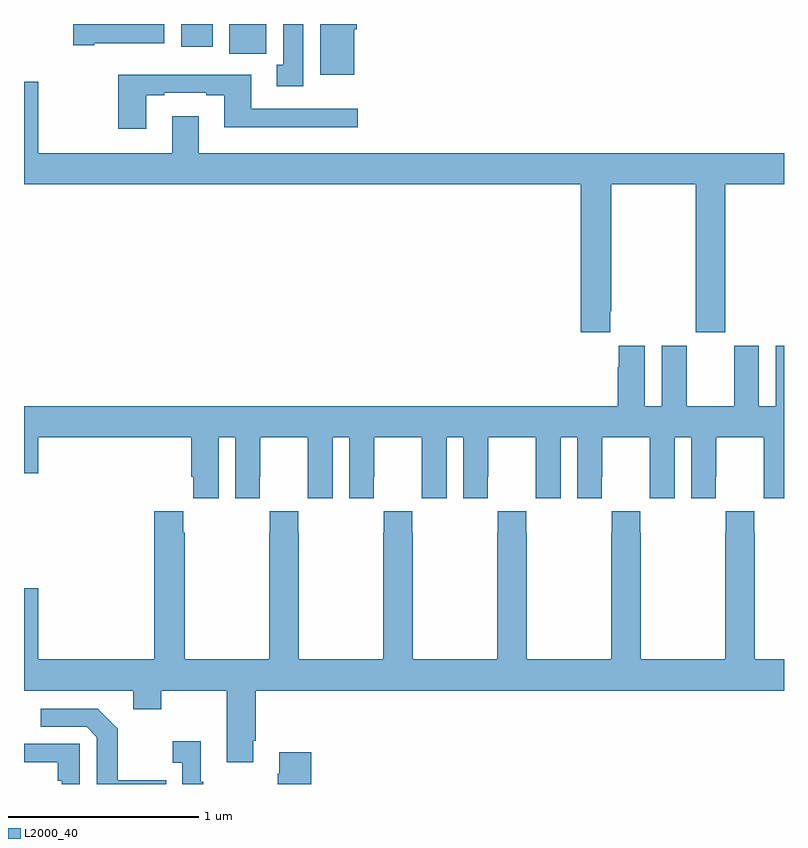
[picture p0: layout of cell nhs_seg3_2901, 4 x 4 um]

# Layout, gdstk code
import gdstk
lib = gdstk.Library(unit=1e-6, precision=1e-09)
def R(c, l, rs):  # rectangles x0, y0, x1, y1
    for r in rs: c.add(gdstk.rectangle(r[:2], r[2:], *l))
def P(c, l, *ps):  # polygons
    for p in ps: c.add(gdstk.Polygon(p, *l))
L2000_40 = (2000, 40)

nhs_seg3_2901 = lib.new_cell('nhs_seg3_2901')
R(nhs_seg3_2901, L2000_40, [(262.079,728.244,262.275,728.4), (261.827,728.28,261.994,728.4)])
P(nhs_seg3_2901, L2000_40, [(262.471,728.4),(262.364,728.4),(262.364,728.185),(262.331,728.185),(262.331,728.073),(262.471,728.073)],
  [(262.738,728.372),(262.751,728.372),(262.751,728.4),(262.559,728.4),(262.559,728.132),(262.738,728.132)],
  [(261.37,728.3),(261.739,728.3),(261.739,728.4),(261.258,728.4),(261.258,728.288),(261.37,728.288)],
  [(261.643,728.025),(261.739,728.025),(261.739,728.037),(261.959,728.037),(261.959,728.025),(262.055,728.025),(262.055,727.856),(262.756,727.856),(262.756,727.953),(262.195,727.953),(262.195,728.134),(261.496,728.134),(261.496,727.848),(261.643,727.848)],
  [(264.085,726.889),(264.09,726.889),(264.09,727.556),(264.535,727.556),(264.535,726.777),(264.69,726.777),(264.69,727.556),(265,727.556),(265,727.72),(261.919,727.72),(261.919,727.915),(261.779,727.915),(261.779,727.72),(261.076,727.72),(261.076,728.095),(261,728.095),(261,727.556),(263.93,727.556),(263.93,726.777),(264.085,726.777)],
  [(262.024,726.224),(262.112,726.224),(262.112,725.904),(262.242,725.904),(262.242,726.016),(262.243,726.016),(262.243,726.224),(262.493,726.224),(262.493,726.016),(262.494,726.016),(262.494,725.904),(262.624,725.904),(262.624,726.224),(262.712,726.224),(262.712,725.904),(262.842,725.904),(262.842,726.016),(262.843,726.016),(262.843,726.224),(263.093,726.224),(263.093,726.016),(263.094,726.016),(263.094,725.904),(263.224,725.904),(263.224,726.224),(263.312,726.224),(263.312,725.904),(263.442,725.904),(263.442,726.016),(263.443,726.016),(263.443,726.224),(263.693,726.224),(263.693,726.016),(263.694,726.016),(263.694,725.904),(263.824,725.904),(263.824,726.224),(263.912,726.224),(263.912,725.904),(264.042,725.904),(264.042,726.016),(264.043,726.016),(264.043,726.224),(264.293,726.224),(264.293,726.016),(264.294,726.016),(264.294,725.904),(264.424,725.904),(264.424,726.224),(264.512,726.224),(264.512,725.904),(264.642,725.904),(264.642,726.016),(264.643,726.016),(264.643,726.224),(264.893,726.224),(264.893,726.016),(264.894,726.016),(264.894,725.904),(265,725.904),(265,726.706),(264.956,726.706),(264.956,726.388),(264.868,726.388),(264.868,726.706),(264.737,726.706),(264.737,726.388),(264.487,726.388),(264.487,726.706),(264.356,726.706),(264.356,726.388),(264.268,726.388),(264.268,726.706),(264.131,726.706),(264.131,726.593),(264.125,726.593),(264.125,726.388),(261,726.388),(261,726.036),(261.076,726.036),(261.076,726.224),(261.881,726.224),(261.881,726.016),(261.89,726.016),(261.89,725.904),(262.024,725.904)],
  [(262.207,724.627),(262.22,724.627),(262.22,724.892),(265,724.892),(265,725.056),(264.846,725.056),(264.846,725.723),(264.843,725.723),(264.843,725.836),(264.693,725.836),(264.693,725.723),(264.691,725.723),(264.691,725.056),(264.246,725.056),(264.246,725.723),(264.243,725.723),(264.243,725.836),(264.093,725.836),(264.093,725.723),(264.091,725.723),(264.091,725.056),(263.646,725.056),(263.646,725.723),(263.643,725.723),(263.643,725.836),(263.493,725.836),(263.493,725.723),(263.491,725.723),(263.491,725.056),(263.046,725.056),(263.046,725.723),(263.043,725.723),(263.043,725.836),(262.893,725.836),(262.893,725.723),(262.891,725.723),(262.891,725.056),(262.446,725.056),(262.446,725.723),(262.443,725.723),(262.443,725.836),(262.293,725.836),(262.293,725.723),(262.291,725.723),(262.291,725.056),(261.846,725.056),(261.846,725.723),(261.839,725.723),(261.839,725.836),(261.686,725.836),(261.686,725.056),(261.076,725.056),(261.076,725.431),(261,725.431),(261,724.892),(261.575,724.892),(261.575,724.793),(261.723,724.793),(261.723,724.892),(262.067,724.892),(262.067,724.515),(262.207,724.515)],
  [(261.749,724.419),(261.493,724.419),(261.493,724.691),(261.387,724.797),(261.087,724.797),(261.087,724.701),(261.33,724.701),(261.384,724.647),(261.384,724.4),(261.749,724.4)],
  [(261.943,724.411),(261.931,724.411),(261.931,724.624),(261.783,724.624),(261.783,724.511),(261.834,724.511),(261.834,724.4),(261.943,724.4)],
  [(261.294,724.611),(261,724.611),(261,724.515),(261.178,724.515),(261.178,724.418),(261.198,724.418),(261.198,724.4),(261.294,724.4)],
  [(262.511,724.567),(262.343,724.567),(262.343,724.454),(262.336,724.454),(262.336,724.4),(262.511,724.4)])

lib.write_gds('nhs_seg3_2901.gds')
